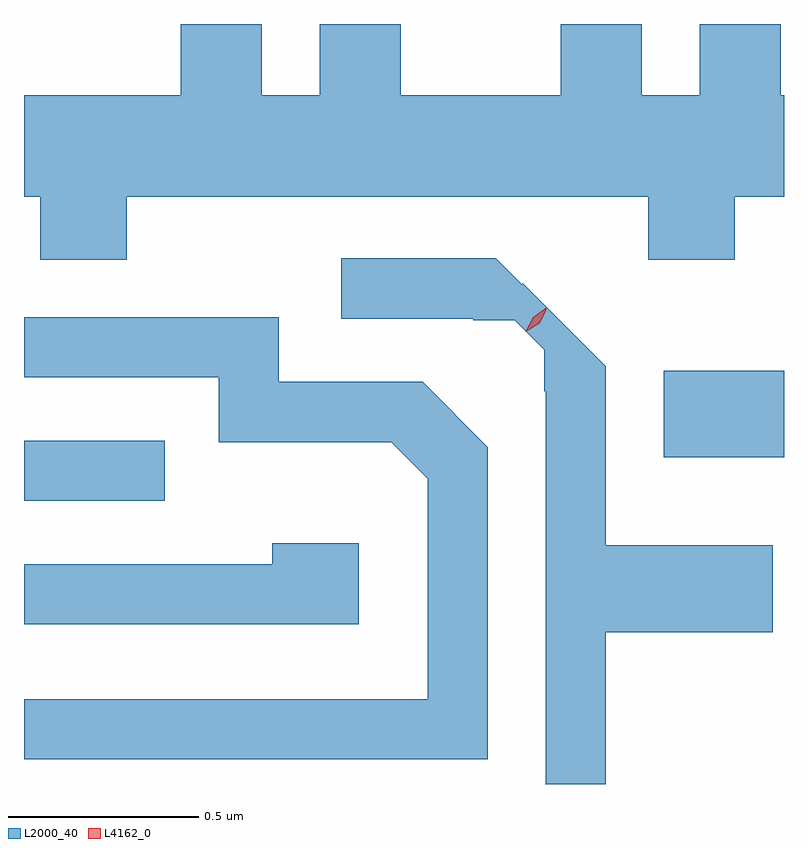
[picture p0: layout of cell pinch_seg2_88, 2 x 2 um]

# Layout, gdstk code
import gdstk
lib = gdstk.Library(unit=1e-6, precision=1e-09)
def R(c, l, rs):  # rectangles x0, y0, x1, y1
    for r in rs: c.add(gdstk.rectangle(r[:2], r[2:], *l))
def P(c, l, *ps):  # polygons
    for p in ps: c.add(gdstk.Polygon(p, *l))
L2000_40 = (2000, 40)
L4162_0 = (4162, 0)

pinch_seg2_88 = lib.new_cell('pinch_seg2_88')
R(pinch_seg2_88, L2000_40, [(1135.418,987.576,1135.788,987.734), (1137.101,987.691,1137.418,987.919)])
P(pinch_seg2_88, L2000_40, [(1135.689,988.376),(1137.061,988.376),(1137.061,988.211),(1137.289,988.211),(1137.289,988.376),(1137.418,988.376),(1137.418,988.644),(1137.409,988.644),(1137.409,988.831),(1137.196,988.831),(1137.196,988.644),(1137.044,988.644),(1137.044,988.831),(1136.831,988.831),(1136.831,988.644),(1136.409,988.644),(1136.409,988.831),(1136.196,988.831),(1136.196,988.644),(1136.044,988.644),(1136.044,988.831),(1135.831,988.831),(1135.831,988.644),(1135.418,988.644),(1135.418,988.376),(1135.461,988.376),(1135.461,988.211),(1135.689,988.211)],
  [(1136.949,987.231),(1137.389,987.231),(1137.389,987.459),(1136.949,987.459),(1136.949,987.93),(1136.73,988.149),(1136.728,988.146),(1136.66,988.214),(1136.253,988.214),(1136.253,988.056),(1136.6,988.056),(1136.6,988.052),(1136.709,988.052),(1136.787,987.974),(1136.787,987.865),(1136.791,987.865),(1136.791,986.832),(1136.79,986.831),(1136.949,986.831)],
  [(1136.639,987.717),(1136.467,987.889),(1136.089,987.889),(1136.089,988.059),(1135.418,988.059),(1135.418,987.901),(1135.931,987.901),(1135.931,987.731),(1136.384,987.731),(1136.481,987.634),(1136.481,987.054),(1135.418,987.054),(1135.418,986.896),(1136.639,986.896)],
  [(1136.299,987.464),(1136.071,987.464),(1136.071,987.409),(1135.418,987.409),(1135.418,987.251),(1136.299,987.251)])
P(pinch_seg2_88, L4162_0, [(1136.738,988.021),(1136.738,988.022),(1136.758,988.059),(1136.792,988.084),(1136.793,988.084),(1136.793,988.083),(1136.773,988.046),(1136.739,988.021)],
  [(1136.744,988.025),(1136.744,988.025),(1136.76,988.057),(1136.79,988.076),(1136.791,988.076),(1136.791,988.075),(1136.775,988.044),(1136.745,988.025)])

lib.write_gds('pinch_seg2_88.gds')
